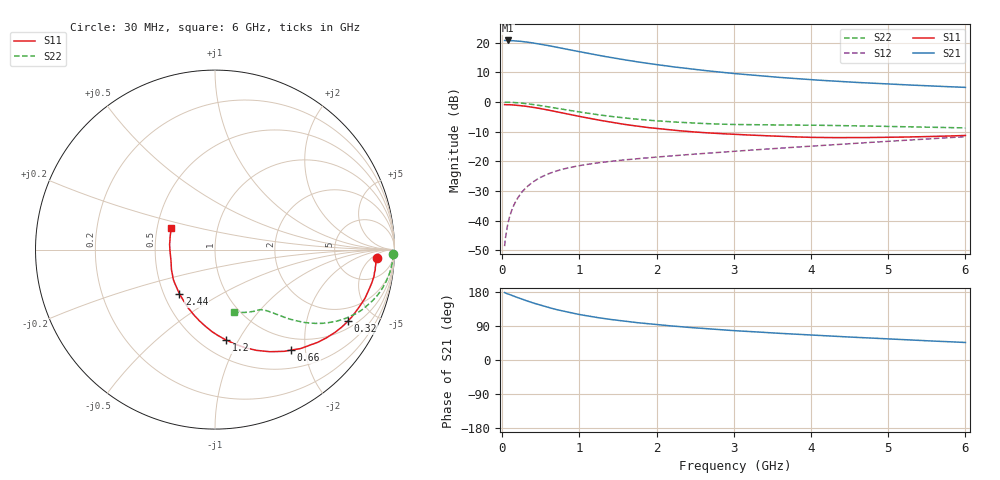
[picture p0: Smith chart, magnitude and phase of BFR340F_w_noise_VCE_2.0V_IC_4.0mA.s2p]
! Infineon Technologies  Discrete & RF Semiconductors
! BFR340F
! VCE =  2.0 V,  IC =  4.0 mA
! Common Emitter S-Parameters:  Nov 2015
# GHz  S  MA  R  50
!  f  S11  S21  S12  S22
! GHz  MAG  ANG  MAG  ANG  MAG  ANG  MAG  ANG
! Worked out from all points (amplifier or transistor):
!   206 points, 30 MHz to 6 GHz, reference 50 ohm
!   highest |S21| = 20.8 dB at 70 MHz (marker M1)
!   |S21| within 3 dB of that: start of sweep to 844.9 MHz
!   unconditionally stable (mu >= 1): 3.378 GHz to end of sweep
!   at 200 MHz: K = 0.10, MSG = 26.5 dB, |S12| = -32.4 dB
!   at 1.56 GHz: K = 0.69, MSG = 17.0 dB, |S12| = -19.6 dB
!   at 6 GHz: K = 1.01, MAG = 7.6 dB, |S12| = -11.7 dB
!   lowest NFmin = 1.00 dB at 900 MHz
!   S11 on the Smith chart (normalised r, x): 30 MHz: 16, -8; 320 MHz: 1.31, -3.55; 660 MHz: 0.78, -1.73; 1.2 GHz: 0.66, -0.89; 2.44 GHz: 0.60, -0.33; 6 GHz: 0.59, +0.15
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0.03  0.9026 -2.8  10.88 177.9  0.0037 87.8  0.9926 -1.5
0.05  0.8989 -4.8  10.83 175.6  0.0061 86.7  0.9918 -2.7
0.07  0.8986 -6.4  10.9 174.2  0.0086 86.5  0.9912 -3.8
0.08  0.8999 -7.2  10.86 173.9  0.0098 86.0  0.9903 -4.3
0.14  0.8918 -12.6  10.79 169.2  0.017 82.7  0.9817 -7.6
0.2  0.8785 -18.0  10.65 164.7  0.024 80.1  0.9693 -10.7
0.32  0.8415 -28.1  10.22 156.0  0.037 74.7  0.934 -16.5
0.4  0.8128 -34.5  9.878 150.6  0.045 71.6  0.9055 -20.0
0.5  0.7714 -42.0  9.405 144.3  0.0539 68.0  0.8665 -24.1
0.6  0.7291 -49.1  8.914 138.4  0.0616 64.9  0.8259 -27.5
0.66  0.702 -53.0  8.605 135.3  0.0657 63.3  0.8016 -29.3
0.8  0.6455 -61.8  7.925 128.4  0.0745 60.2  0.7473 -33.1
1.04  0.5577 -74.9  6.888 118.6  0.0862 56.6  0.6658 -37.9
1.2  0.5088 -82.8  6.287 113.0  0.0926 54.9  0.6194 -40.3
1.4  0.4585 -91.9  5.64 107.1  0.0996 53.7  0.572 -42.7
1.58  0.4198 -99.4  5.152 102.4  0.1054 53.1  0.5379 -44.3
2.02  0.3557 -115.2  4.232 93.0  0.1184 52.9  0.4794 -47.4
2.44  0.316 -128.8  3.612 85.7  0.1305 53.6  0.4438 -50.0
3.1  0.2813 -146.3  2.945 76.4  0.1503 55.0  0.4159 -53.8
4.1  0.252 -167.5  2.332 64.8  0.1834 56.9  0.4048 -58.3
5.1  0.2551 171.5  1.981 54.7  0.221 57.6  0.3851 -65.4
6  0.2724 153.7  1.763 46.2  0.2599 57.3  0.3654 -73.0
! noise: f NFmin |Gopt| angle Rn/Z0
0.45  1.01  0.55  3  0.35
0.9  1  0.53  12  0.38
1.9  1.26  0.4  21  0.34
2.4  1.35  0.37  30  0.33
